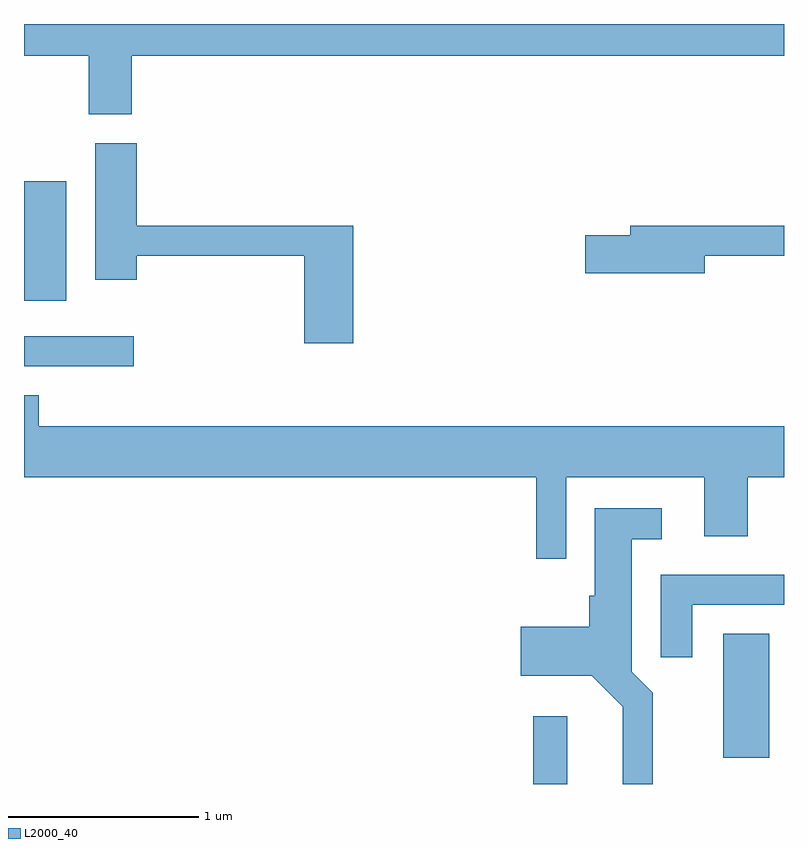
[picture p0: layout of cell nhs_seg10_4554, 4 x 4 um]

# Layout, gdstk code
import gdstk
lib = gdstk.Library(unit=1e-6, precision=1e-09)
def R(c, l, rs):  # rectangles x0, y0, x1, y1
    for r in rs: c.add(gdstk.rectangle(r[:2], r[2:], *l))
def P(c, l, *ps):  # polygons
    for p in ps: c.add(gdstk.Polygon(p, *l))
L2000_40 = (2000, 40)

nhs_seg10_4554 = lib.new_cell('nhs_seg10_4554')
R(nhs_seg10_4554, L2000_40, [(322.291,2114.522,322.469,2114.879), (323.291,2114.661,323.534,2115.314), (319.611,2116.721,320.188,2116.879), (319.611,2117.066,319.834,2117.694)])
P(nhs_seg10_4554, L2000_40, [(320.179,2118.356),(323.611,2118.356),(323.611,2118.522),(319.611,2118.522),(319.611,2118.356),(319.951,2118.356),(319.951,2118.046),(320.179,2118.046)],
  [(321.344,2117.459),(320.204,2117.459),(320.204,2117.894),(319.986,2117.894),(319.986,2117.176),(320.204,2117.176),(320.204,2117.301),(321.086,2117.301),(321.086,2116.841),(321.344,2116.841)],
  [(323.194,2117.301),(323.611,2117.301),(323.611,2117.459),(322.801,2117.459),(322.801,2117.409),(322.566,2117.409),(322.566,2117.211),(323.194,2117.211)],
  [(322.464,2116.136),(323.191,2116.136),(323.191,2115.826),(323.419,2115.826),(323.419,2116.136),(323.611,2116.136),(323.611,2116.404),(319.689,2116.404),(319.689,2116.569),(319.611,2116.569),(319.611,2116.136),(322.306,2116.136),(322.306,2115.708),(322.464,2115.708)],
  [(322.919,2115.002),(322.809,2115.112),(322.809,2115.811),(322.968,2115.811),(322.968,2115.974),(322.616,2115.974),(322.616,2115.514),(322.586,2115.514),(322.586,2115.349),(322.226,2115.349),(322.226,2115.091),(322.599,2115.091),(322.761,2114.929),(322.761,2114.522),(322.919,2114.522)],
  [(323.129,2115.466),(323.611,2115.466),(323.611,2115.624),(322.961,2115.624),(322.961,2115.188),(323.129,2115.188)])

lib.write_gds('nhs_seg10_4554.gds')
